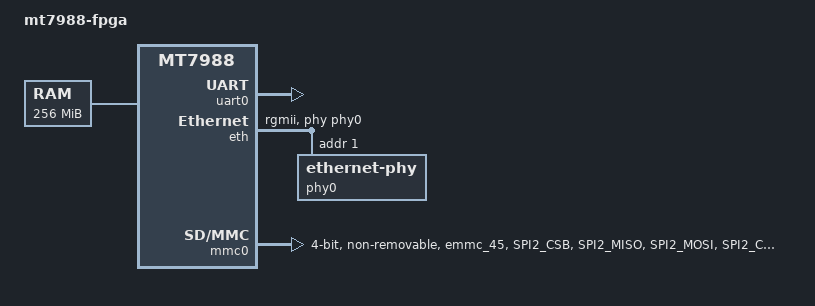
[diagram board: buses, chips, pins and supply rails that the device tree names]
// SPDX-License-Identifier: GPL-2.0
/*
 * Copyright (c) 2021 MediaTek Inc.
 * Author: Sam Shih <sam.shih@mediatek.com>
 */

/dts-v1/;
#include "mt7988-fpga.dtsi"
#include <dt-bindings/gpio/gpio.h>

/ {
	model = "mt7988-fpga";
	compatible = "mediatek,mt7988-fpga";
	chosen {
		stdout-path = &uart0;
	};

	memory@40000000 {
		device_type = "memory";
		reg = <0 0x40000000 0 0x10000000>;
	};
};

&uart0 {
	status = "okay";
};

&eth {
	status = "okay";
	mediatek,gmac-id = <0>;
	phy-mode = "rgmii";
	phy-handle = <&phy0>;

	phy0: ethernet-phy@0 {
		reg = <1>;
	};
};

&pinctrl {
	mmc1_pins_default: mmc1default {
		mux {
			function = "flash";
			groups =  "emmc_45";
		};

		conf-cmd-dat {
			pins = "SPI2_CSB", "SPI2_MISO", "SPI2_MOSI",
			       "SPI2_CLK", "SPI2_HOLD";
			input-enable;
		};

		conf-clk {
			pins = "SPI2_WP";
		};
	};
};

&mmc0 {
	pinctrl-names = "default";
	pinctrl-0 = <&mmc1_pins_default>;
	max-frequency = <52000000>;
	bus-width = <4>;
	cap-mmc-highspeed;
	non-removable;
	status = "okay";
};
